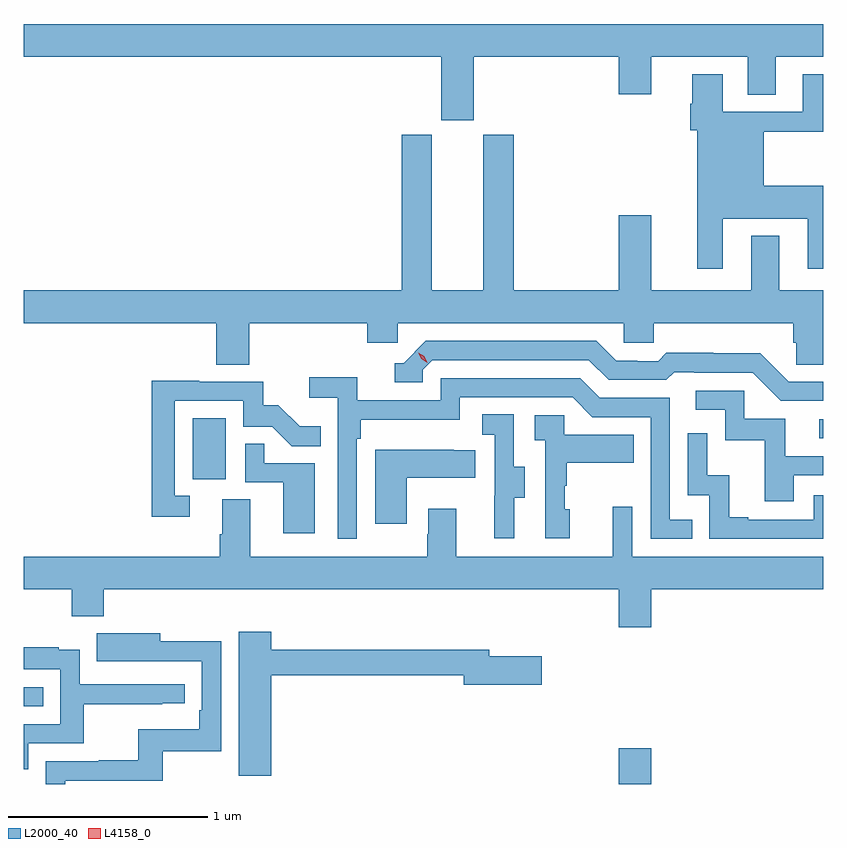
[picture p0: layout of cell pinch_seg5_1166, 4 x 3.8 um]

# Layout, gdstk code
import gdstk
lib = gdstk.Library(unit=1e-6, precision=1e-09)
def R(c, l, rs):  # rectangles x0, y0, x1, y1
    for r in rs: c.add(gdstk.rectangle(r[:2], r[2:], *l))
def P(c, l, *ps):  # polygons
    for p in ps: c.add(gdstk.Polygon(p, *l))
L2000_40 = (2000, 40)
L4158_0 = (4158, 0)

pinch_seg5_1166 = lib.new_cell('pinch_seg5_1166')
R(pinch_seg5_1166, L2000_40, [(860.312,834.475,860.476,834.655), (857.336,834.864,857.435,834.96), (858.182,835.998,858.346,836.305), (861.315,836.205,861.336,836.298)])
P(pinch_seg5_1166, L2000_40, [(859.588,838.112),(860.312,838.112),(860.312,837.924),(860.476,837.924),(860.476,838.112),(860.957,838.112),(860.957,837.922),(861.097,837.922),(861.097,838.112),(861.336,838.112),(861.336,838.276),(857.336,838.276),(857.336,838.112),(859.424,838.112),(859.424,837.795),(859.588,837.795)],
  [(860.833,837.302),(861.257,837.302),(861.257,837.051),(861.336,837.051),(861.336,837.466),(861.037,837.466),(861.037,837.736),(861.336,837.736),(861.336,838.024),(861.233,838.024),(861.233,837.837),(860.833,837.837),(860.833,838.024),(860.681,838.024),(860.681,837.878),(860.669,837.878),(860.669,837.744),(860.705,837.744),(860.705,837.051),(860.833,837.051)],
  [(858.464,836.78),(859.055,836.78),(859.055,836.682),(859.206,836.682),(859.206,836.78),(860.337,836.78),(860.337,836.682),(860.487,836.682),(860.487,836.78),(861.185,836.78),(861.185,836.682),(861.199,836.682),(861.199,836.572),(861.336,836.572),(861.336,836.944),(861.115,836.944),(861.115,837.217),(860.975,837.217),(860.975,836.944),(860.476,836.944),(860.476,837.319),(860.312,837.319),(860.312,836.944),(859.787,836.944),(859.787,837.723),(859.634,837.723),(859.634,836.944),(859.378,836.944),(859.378,837.723),(859.226,837.723),(859.226,836.944),(857.336,836.944),(857.336,836.78),(858.299,836.78),(858.299,836.572),(858.464,836.572)],
  [(861.336,836.487),(861.162,836.487),(861.02,836.629),(860.784,836.629),(860.784,836.632),(860.551,836.632),(860.509,836.589),(860.406,836.589),(860.406,836.592),(860.299,836.592),(860.2,836.691),(859.347,836.691),(859.236,836.58),(859.193,836.58),(859.193,836.484),(859.332,836.484),(859.332,836.547),(859.38,836.595),(860.163,836.595),(860.262,836.496),(860.551,836.496),(860.59,836.535),(860.689,836.535),(860.689,836.532),(860.982,836.532),(861.123,836.391),(861.336,836.391)],
  [(859.002,836.201),(859.022,836.201),(859.022,836.297),(859.518,836.297),(859.518,836.409),(860.082,836.409),(860.181,836.31),(860.472,836.31),(860.472,835.701),(860.681,835.701),(860.681,835.797),(860.568,835.797),(860.568,836.406),(860.218,836.406),(860.119,836.505),(859.422,836.505),(859.422,836.394),(859.004,836.394),(859.004,836.51),(858.765,836.51),(858.765,836.408),(858.906,836.408),(858.906,835.701),(859.002,835.701)],
  [(858.166,835.917),(858.093,835.917),(858.093,836.391),(858.435,836.391),(858.435,836.262),(858.579,836.262),(858.677,836.164),(858.821,836.164),(858.821,836.263),(858.717,836.263),(858.61,836.37),(858.534,836.37),(858.534,836.487),(858.215,836.487),(858.215,836.492),(857.977,836.492),(857.977,835.812),(858.166,835.812)],
  [(861.187,836.019),(861.336,836.019),(861.336,836.115),(861.145,836.115),(861.145,836.301),(860.94,836.301),(860.94,836.442),(860.697,836.442),(860.697,836.346),(860.844,836.346),(860.844,836.193),(861.043,836.193),(861.043,835.89),(861.187,835.89)],
  [(859.789,835.906),(859.843,835.906),(859.843,836.061),(859.788,836.061),(859.788,836.324),(859.629,836.324),(859.629,836.221),(859.692,836.221),(859.692,835.917),(859.691,835.917),(859.691,835.704),(859.789,835.704)],
  [(860.068,835.848),(860.043,835.848),(860.043,835.967),(860.053,835.967),(860.053,836.081),(860.387,836.081),(860.387,836.221),(860.04,836.221),(860.04,836.319),(859.893,836.319),(859.893,836.195),(859.944,836.195),(859.944,835.704),(860.068,835.704)],
  [(861.336,835.92),(861.288,835.92),(861.288,835.797),(860.959,835.797),(860.959,835.81),(860.864,835.81),(860.864,836.018),(860.754,836.018),(860.754,836.23),(860.658,836.23),(860.658,835.92),(860.766,835.92),(860.766,835.701),(861.336,835.701)],
  [(858.793,836.079),(858.539,836.079),(858.539,836.177),(858.444,836.177),(858.444,835.983),(858.635,835.983),(858.635,835.728),(858.793,835.728)],
  [(859.252,836.006),(859.595,836.006),(859.595,836.143),(859.487,836.143),(859.487,836.146),(859.094,836.146),(859.094,835.776),(859.252,835.776)],
  [(860.476,835.448),(861.336,835.448),(861.336,835.612),(860.379,835.612),(860.379,835.861),(860.282,835.861),(860.282,835.612),(859.501,835.612),(859.501,835.852),(859.361,835.852),(859.361,835.724),(859.354,835.724),(859.354,835.612),(858.469,835.612),(858.469,835.898),(858.329,835.898),(858.329,835.724),(858.317,835.724),(858.317,835.612),(857.336,835.612),(857.336,835.448),(857.578,835.448),(857.578,835.313),(857.738,835.313),(857.738,835.448),(860.312,835.448),(860.312,835.26),(860.476,835.26)],
  [(858.574,835.018),(859.538,835.018),(859.538,834.971),(859.927,834.971),(859.927,835.113),(859.666,835.113),(859.666,835.147),(858.574,835.147),(858.574,835.237),(858.413,835.237),(858.413,834.516),(858.574,834.516)],
  [(857.544,834.492),(858.031,834.492),(858.031,834.639),(858.324,834.639),(858.324,835.19),(858.019,835.19),(858.019,835.228),(857.701,835.228),(857.701,835.088),(857.915,835.088),(857.915,835.089),(858.228,835.089),(858.228,834.844),(858.215,834.844),(858.215,834.748),(857.91,834.748),(857.91,834.593),(857.713,834.593),(857.713,834.588),(857.448,834.588),(857.448,834.475),(857.544,834.475)],
  [(857.359,834.678),(857.636,834.678),(857.636,834.874),(858.029,834.874),(858.029,834.879),(858.142,834.879),(858.142,834.975),(857.616,834.975),(857.616,835.147),(857.513,835.147),(857.513,835.159),(857.336,835.159),(857.336,835.05),(857.52,835.05),(857.52,834.774),(857.336,834.774),(857.336,834.55),(857.359,834.55)])
P(pinch_seg5_1166, L4158_0, [(859.356,836.581),(859.325,836.601),(859.309,836.633),(859.309,836.633),(859.309,836.633),(859.34,836.614),(859.356,836.581),(859.356,836.581)])

lib.write_gds('pinch_seg5_1166.gds')
